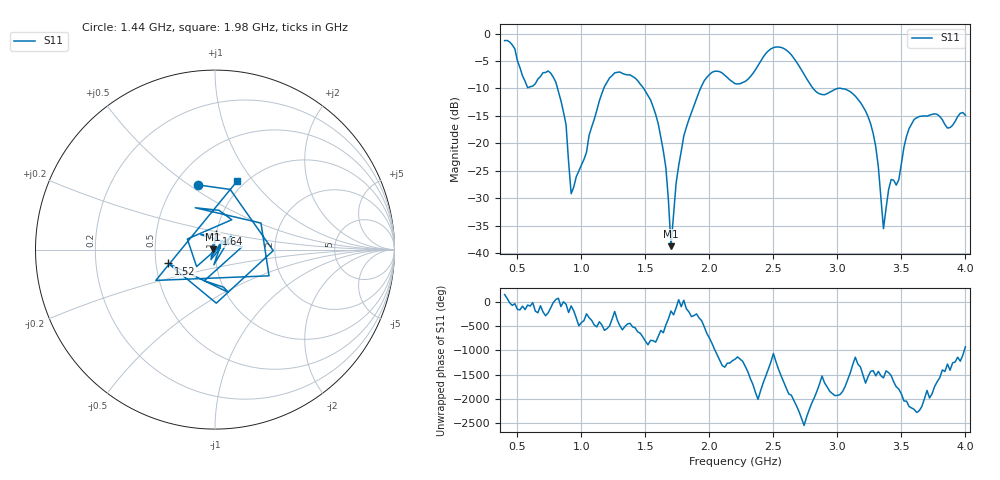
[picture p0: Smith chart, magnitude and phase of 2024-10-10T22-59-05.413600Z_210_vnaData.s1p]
! Created with skrf (http://scikit-rf.org).
# Hz S RI R 50.0
!freq ReS11 ImS11
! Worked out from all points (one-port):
!   181 points, 400 MHz to 4 GHz, reference 50 ohm
!   lowest |S11| = -38.8 dB at 1.7 GHz (marker M1), VSWR 1.02, Z = 48.9 + j0.077 ohm
!   |S11| at or under -10 dB: 813.3 MHz to 1.175 GHz (361.3 MHz wide, 36.4 % of centre); 1.486 GHz to 1.931 GHz (444.7 MHz wide, 26 % of centre); 3.028 GHz to end of sweep (the widest 3 of 4)
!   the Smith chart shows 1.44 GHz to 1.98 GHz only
!   S11 on the Smith chart (normalised r, x): 1.44 GHz: 0.65, +0.54; 1.52 GHz: 0.58, -0.10; 1.64 GHz: 1.00, +0.17; 1.98 GHz: 0.92, +0.83
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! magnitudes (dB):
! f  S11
! 400 MHz  -1.3
! 580 MHz  -9.9
! 760 MHz  -7.2
! 860 MHz  -14.3
! 880 MHz  -16.6
! 920 MHz  -29.2
! 1.18 GHz  -9.7
! 1.3 GHz  -7.0
! 1.44 GHz  -8.6
! 1.52 GHz  -11.3
! 1.64 GHz  -21.4
! 1.66 GHz  -24.5
! 1.7 GHz  -38.8
! 1.76 GHz  -24.1
! 1.82 GHz  -17.1
! 1.98 GHz  -8.0
! 2.2 GHz  -9.1
! 2.5 GHz  -2.6
! 2.66 GHz  -4.5
! 2.84 GHz  -10.7
! 3.1 GHz  -10.6
! 3.28 GHz  -18.3
! 3.32 GHz  -24.3
! 3.36 GHz  -35.6
! 3.42 GHz  -26.6
! 3.48 GHz  -26.6
! 3.56 GHz  -17.3
! 4 GHz  -14.9
